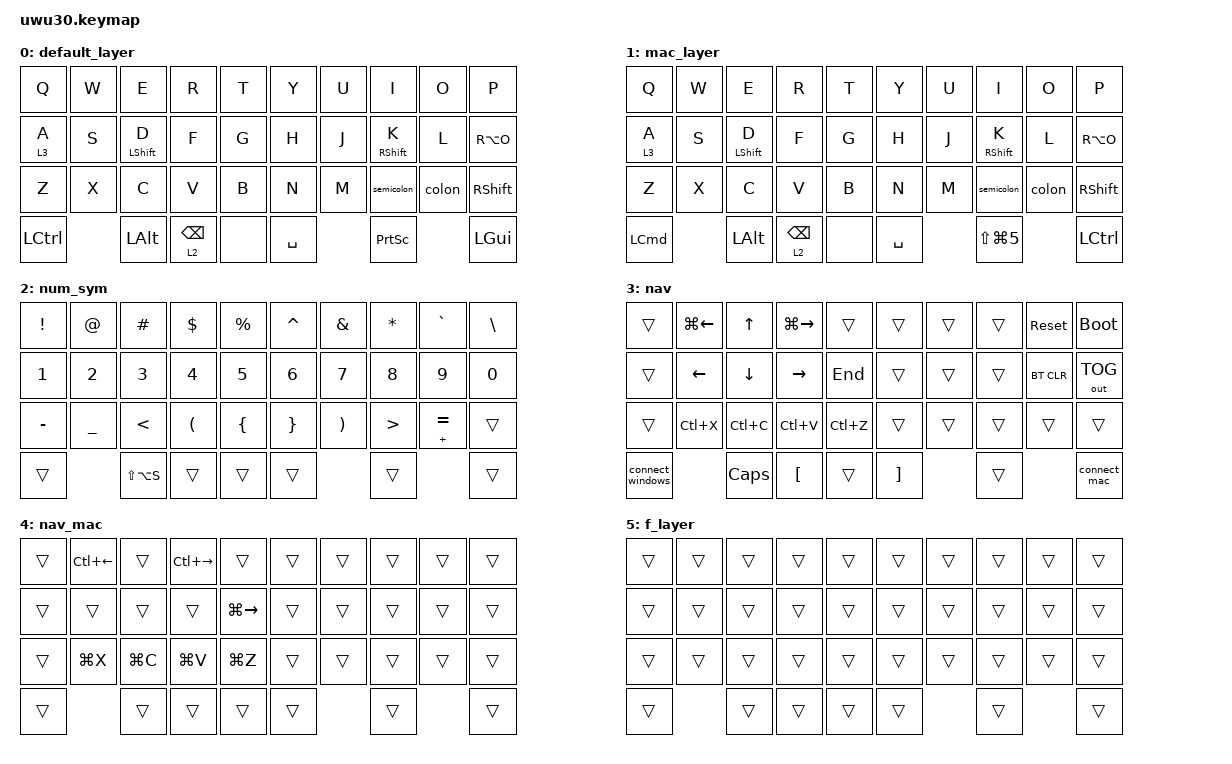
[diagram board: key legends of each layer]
/*
 * Copyright (c) 2023 The ZMK Contributors
 *
 * SPDX-License-Identifier: MIT
 */

#include <behaviors.dtsi>
#include <dt-bindings/zmk/bt.h>
#include <dt-bindings/zmk/keys.h>
#include <dt-bindings/zmk/outputs.h>

/ {
    combos {
        compatible = "zmk,combos";

        combo_esc {
            bindings = <&kp ESCAPE>;
            key-positions = <0 1>;
            layers = <0 1>;
            timeout-ms = <30>;
        };

        combo_del {
            bindings = <&kp DELETE>;
            key-positions = <0 2>;
            layers = <0 1>;
            timeout-ms = <30>;
        };

        combo_tab {
            bindings = <&kp TAB>;
            key-positions = <11 12>;
            layers = <0 1>;
            timeout-ms = <30>;
        };

        combo_single_quote {
            bindings = <&kp SINGLE_QUOTE>;
            key-positions = <6 7>;
            layers = <0 1>;
            timeout-ms = <30>;
        };

        combo_double_quote {
            bindings = <&kp DOUBLE_QUOTES>;
            key-positions = <6 7 8>;
            layers = <0 1>;
            timeout-ms = <30>;
        };

        combo_enter {
            bindings = <&kp ENTER>;
            key-positions = <19 18 17>;
            layers = <0 1>;
            timeout-ms = <30>;
        };

        combo_aa {
            bindings = <&kp RA(W)>;
            key-positions = <8 9>;
            layers = <0 1>;
            timeout-ms = <30>;
        };

        combo_ae {
            bindings = <&kp RA(A)>;
            key-positions = <18 19>;
            layers = <0 1>;
            timeout-ms = <30>;
        };

        combo_question {
            bindings = <&kp QUESTION>;
            key-positions = <27 26>;
            layers = <0 1>;
            timeout-ms = <30>;
        };

        combo_slash {
            bindings = <&kp SLASH>;
            key-positions = <27 28>;
            layers = <0 1>;
            timeout-ms = <30>;
        };

        combo_capsword {
            bindings = <&caps_word>;
            key-positions = <12 17>;
            layers = <0 1>;
            timeout-ms = <30>;
        };
    };
};

&mt { tapping-term-ms = <400>; };

/ {
    behaviors {
        semicolon: semicolon {
            compatible = "zmk,behavior-mod-morph";
            label = "SEMICOLON";
            bindings = <&kp COMMA>, <&kp SEMI>;

            #binding-cells = <0>;
            mods = <(MOD_LSFT|MOD_RSFT)>;
        };

        colon: colon {
            compatible = "zmk,behavior-mod-morph";
            label = "COLON";
            bindings = <&kp DOT>, <&kp SEMI>;

            #binding-cells = <0>;
            mods = <(MOD_LSFT|MOD_RSFT)>;
            keep-mods = <(MOD_RSFT|MOD_LSFT)>;
        };

        plus_equals: plus_equals {
            compatible = "zmk,behavior-hold-tap";
            label = "PLUS_EQUALS";
            bindings = <&kp>, <&kp>;

            #binding-cells = <2>;
            flavor = "balanced";
            tapping-term-ms = <125>;
        };

        backspace: backspace {
            compatible = "zmk,behavior-hold-tap";
            label = "BACKSPACE";
            bindings = <&mo>, <&kp>;

            #binding-cells = <2>;
            tapping-term-ms = <200>;
            quick-tap-ms = <150>;
            flavor = "balanced";
        };
    };

    macros {
        connect_mac: connect_mac {
            compatible = "zmk,behavior-macro";
            #binding-cells = <0>;
            bindings = <&bt BT_SEL 1 &to 1>;
            label = "CONNECT_MAC";
        };

        connect_windows: connect_windows {
            compatible = "zmk,behavior-macro";
            #binding-cells = <0>;
            bindings = <&bt BT_SEL 0 &to 0>;
            label = "CONNECT_WINDOWS";
        };
    };

    keymap {
        compatible = "zmk,keymap";

        default_layer {
            bindings = <
&kp Q      &kp W  &kp E        &kp R                   &kp T  &kp Y      &kp U  &kp I            &kp O   &kp P
&lt 3 A    &kp S  &mt LSHFT D  &kp F                   &kp G  &kp H      &kp J  &mt RSHFT K      &kp L   &kp RA(O)
&kp Z      &kp X  &kp C        &kp V                   &kp B  &kp N      &kp M  &semicolon       &colon  &kp RSHFT
&kp LCTRL         &kp LALT     &backspace 2 BACKSPACE  &none  &kp SPACE         &kp PRINTSCREEN          &kp LGUI
            >;
        };

        mac_layer {
            bindings = <
&kp Q     &kp W  &kp E        &kp R                   &kp T  &kp Y      &kp U  &kp I           &kp O   &kp P
&lt 3 A   &kp S  &mt LSHFT D  &kp F                   &kp G  &kp H      &kp J  &mt RSHFT K     &kp L   &kp RA(O)
&kp Z     &kp X  &kp C        &kp V                   &kp B  &kp N      &kp M  &semicolon      &colon  &kp RSHFT
&kp LCMD         &kp LALT     &backspace 2 BACKSPACE  &none  &kp SPACE         &kp LS(LG(N5))          &kp LCTRL
            >;
        };

        num_sym {
            bindings = <
&kp EXCL   &kp AT     &kp HASH       &kp DOLLAR  &kp PERCENT     &kp CARET        &kp AMPERSAND  &kp ASTERISK      &kp GRAVE                &kp BACKSLASH
&kp N1     &kp N2     &kp N3         &kp N4      &kp N5          &kp N6           &kp N7         &kp N8            &kp N9                   &kp N0
&kp MINUS  &kp UNDER  &kp LESS_THAN  &kp LPAR    &kp LEFT_BRACE  &kp RIGHT_BRACE  &kp RPAR       &kp GREATER_THAN  &plus_equals PLUS EQUAL  &trans
&trans                &kp LS(LA(S))  &trans      &trans          &trans                          &trans                                     &trans
            >;
        };

        nav {
            bindings = <
&trans            &kp LG(LEFT)  &kp UP     &kp LG(RIGHT)  &trans     &trans    &trans  &trans  &sys_reset  &bootloader
&trans            &kp LEFT      &kp DOWN   &kp RIGHT      &kp END    &trans    &trans  &trans  &bt BT_CLR  &out OUT_TOG
&trans            &kp LC(X)     &kp LC(C)  &kp LC(V)      &kp LC(Z)  &trans    &trans  &trans  &trans      &trans
&connect_windows                &kp CAPS   &kp LBKT       &trans     &kp RBKT          &trans              &connect_mac
            >;
        };

        nav_mac {
            bindings = <
&trans  &kp LC(LEFT)  &trans     &kp LC(RIGHT)  &trans               &trans  &trans  &trans  &trans  &trans
&trans  &trans        &trans     &trans         &kp LG(RIGHT_ARROW)  &trans  &trans  &trans  &trans  &trans
&trans  &kp LG(X)     &kp LG(C)  &kp LG(V)      &kp LG(Z)            &trans  &trans  &trans  &trans  &trans
&trans                &trans     &trans         &trans               &trans          &trans          &trans
            >;
        };

        f_layer {
            bindings = <
&trans  &trans  &trans  &trans  &trans  &trans  &trans  &trans  &trans  &trans
&trans  &trans  &trans  &trans  &trans  &trans  &trans  &trans  &trans  &trans
&trans  &trans  &trans  &trans  &trans  &trans  &trans  &trans  &trans  &trans
&trans          &trans  &trans  &trans  &trans          &trans          &trans
            >;
        };
    };

    conditional_layers {
        compatible = "zmk,conditional-layers";

        mac_navigation {
            if-layers = <1 3>;
            then-layer = <4>;
        };
    };
};
